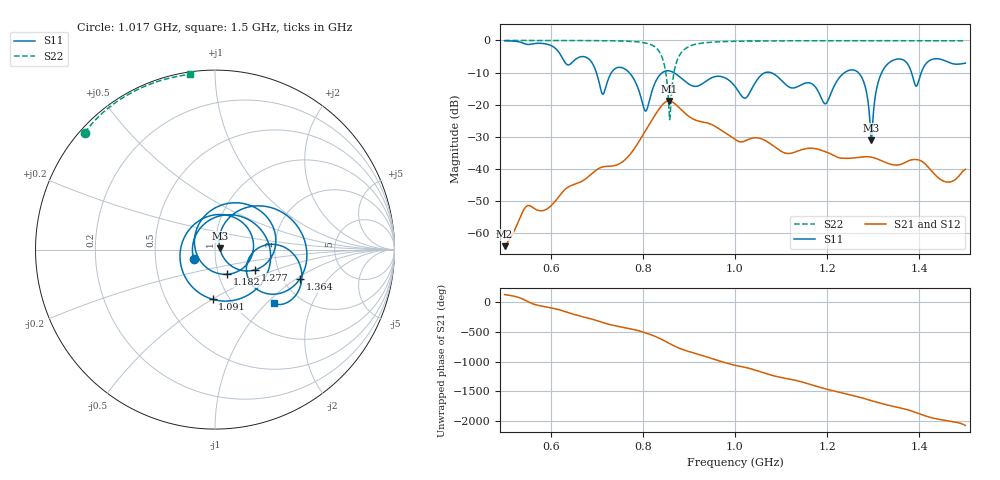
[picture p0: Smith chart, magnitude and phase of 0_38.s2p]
! TOUCHSTONE file generated by CST MICROWAVE STUDIO
! Date and time: Sat Oct 24 10:48:01 2020
! Project name: Scenario_1_Planar_Body_Tissue_Center.cst
! Parameters = {hfat=3; hmuscle=50; hskin=1.5; hgap=25; Wtissue=700; Ltissue=700; L_HA=400; MT=2.54; Rad_Dielectric=30; Rad_Lower=7.3; Rad_Upper=30; a_HA=580; a_WG=246; b_HA=500; b_WG=121; c_HA=0; c_WG=187; d_feed=85; dx1=813.84; h_feed=15; h_lower=18; h_upper=40}
! Header version: 2018
! Port assignment regex: !\s*Touchstone port\s*([0-9]+)\s*=\s*(CST MWS port|CST DS port)\s*([0-9]+|Zmin|Zmax)\s*\(\"(.*)\"\)(\s*mode\s*([0-9]+))?.*
! Touchstone port assignment:
! Touchstone port 1 = CST MWS port 1 ("")
! Touchstone port 2 = CST MWS port 2 ("")
# GHz S DB R 50
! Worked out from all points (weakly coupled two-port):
!   1003 points, 500 MHz to 1.5 GHz, reference 50 ohm
!   highest |S21| = -18.86 dB at 856 MHz (marker M1); lowest = -64.2 dB at 500 MHz (marker M2)
!   lowest |S11| = -31.1 dB at 1.296 GHz (marker M3), VSWR 1.06, Z = 52.8 + j0.774 ohm
!   |S11| at or under -10 dB: 770.2 MHz to 842.6 MHz (72.36 MHz wide, 8.97 % of centre); 866.6 MHz to 1.066 GHz (199.4 MHz wide, 20.6 % of centre); 1.077 GHz to 1.238 GHz (161.2 MHz wide, 13.9 % of centre)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
!   |S22| runs from -24.7 to 0.0 dB; largest |S21 - S12| = 3.9e-06
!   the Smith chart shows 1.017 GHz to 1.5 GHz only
!   S11 on the Smith chart (normalised r, x): 1.017 GHz: 0.78, -0.08; 1.091 GHz: 0.84, -0.50; 1.182 GHz: 1.10, -0.31; 1.277 GHz: 1.52, -0.37; 1.364 GHz: 2.47, -1.07; 1.5 GHz: 1.49, -1.10
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0.5  -0.09 -121.8  -64.15 130.9  -64.15 130.9  -0.01 151.2
0.589  -1.07 -169.9  -52.76 -76.5  -52.76 -76.5  -0.02 145.0
0.667  -5.04 149.9  -43.96 121.7  -43.96 121.7  -0.04 138.4
0.705  -13.08 35.4  -39.87 38.4  -39.87 38.4  -0.07 134.3
0.742  -8.62 174.4  -38.89 -39.7  -38.89 -39.7  -0.14 129.0
0.806  -22.06 -54.0  -28.10 -155.8  -28.10 -155.8  -0.81 110.0
0.834  -11.28 150.2  -21.65 119.4  -21.65 119.4  -3.13 84.4
0.856  -9.47 73.3  -18.86 30.8  -18.86 30.8  -19.67 13.9
0.897  -13.33 -67.7  -23.38 -104.6  -23.38 -104.6  -2.15 171.0
0.949  -11.66 82.0  -26.21 130.5  -26.20 130.5  -0.56 149.3
1  -14.34 -78.4  -30.80 16.7  -30.80 16.7  -0.26 140.4
1.017  -17.72 -156.2  -31.58 -8.6  -31.58 -8.6  -0.21 138.1
1.091  -11.14 -92.7  -33.69 -174.6  -33.69 -174.6  -0.13 130.6
1.167  -13.54 -5.8  -33.62 44.2  -33.61 44.2  -0.10 124.3
1.182  -16.29 -63.6  -33.99 9.3  -33.99 9.3  -0.09 123.1
1.23  -11.02 68.0  -36.69 -87.0  -36.69 -87.0  -0.09 119.4
1.277  -12.07 -27.0  -36.31 -177.3  -36.31 -177.3  -0.08 115.9
1.296  -31.10 15.3  -36.39 139.8  -36.39 139.8  -0.08 114.4
1.334  -7.01 24.6  -38.45 60.4  -38.45 60.4  -0.09 111.5
1.364  -6.01 -19.0  -38.42 8.2  -38.42 8.2  -0.09 109.3
1.393  -14.28 -20.6  -37.14 -62.4  -37.14 -62.4  -0.09 107.0
1.5  -7.08 -42.3  -40.19 80.5  -40.19 80.5  -0.13 98.0
